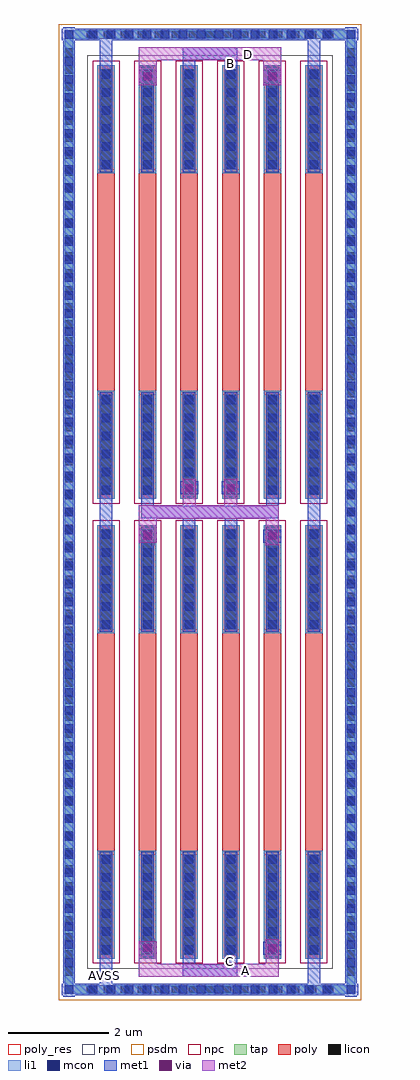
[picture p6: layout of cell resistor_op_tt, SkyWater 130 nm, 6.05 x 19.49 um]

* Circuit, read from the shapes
.subckt resistor_op_tt A AVSS B C D
XR1 n1 AVSS AVSS sky130_fd_pr__res_high_po w=0.35 l=4.38 m=2
XR2 n2 A AVSS sky130_fd_pr__res_high_po w=0.35 l=4.38 m=2
XR3 D n3 AVSS sky130_fd_pr__res_high_po w=0.35 l=4.38 m=2
XR4 n3 C AVSS sky130_fd_pr__res_high_po w=0.35 l=4.38 m=2
XR5 B n2 AVSS sky130_fd_pr__res_high_po w=0.35 l=4.38 m=2
XR6 n4 AVSS AVSS sky130_fd_pr__res_high_po w=0.35 l=4.38 m=2
.ends

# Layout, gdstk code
import gdstk
lib = gdstk.Library(unit=1e-6, precision=1e-09)
def R(c, l, rs):  # rectangles x0, y0, x1, y1
    for r in rs: c.add(gdstk.rectangle(r[:2], r[2:], *l))
def A(c, l, x, y, w, h, nx, ny, dx, dy):  # array of equal rectangles
    R(c, l, [(x+i*dx, y+j*dy, x+i*dx+w, y+j*dy+h) for i in range(nx) for j in range(ny)])
tap = (65, 44)
poly_res = (66, 13)
poly = (66, 20)
licon = (66, 44)
li1 = (67, 20)
mcon = (67, 44)
met1 = (68, 20)
via = (68, 44)
met2 = (69, 20)
rpm = (86, 20)
psdm = (94, 20)
npc = (95, 20)

sky130_fd_pr__res_high_p = lib.new_cell('sky130_fd_pr__res_high_po_0p35_RXTQM4')
A(sky130_fd_pr__res_high_p, poly_res, -2.25, -6.84, 0.35, 4.5, 6, 2, 0.83, 9.18)
A(sky130_fd_pr__res_high_p, poly, -2.25, -8.92, 0.35, 8.66, 6, 2, 0.83, 9.18)
A(sky130_fd_pr__res_high_p, licon, -2.17, -8.84, 0.19, 2, 6, 2, 0.83, 6.5)
A(sky130_fd_pr__res_high_p, licon, -2.17, 0.34, 0.19, 2, 6, 2, 0.83, 6.5)
A(sky130_fd_pr__res_high_p, li1, -2.25, -8.92, 0.35, 2.16, 6, 2, 0.83, 6.5)
A(sky130_fd_pr__res_high_p, li1, -2.25, 0.26, 0.35, 2.16, 6, 2, 0.83, 6.5)
A(sky130_fd_pr__res_high_p, mcon, -2.16, -8.825, 0.17, 0.17, 6, 6, 0.83, 0.36)
A(sky130_fd_pr__res_high_p, mcon, -2.16, -2.33, 0.17, 0.17, 6, 6, 0.83, 0.36)
A(sky130_fd_pr__res_high_p, mcon, -2.16, 0.355, 0.17, 0.17, 6, 6, 0.83, 0.36)
A(sky130_fd_pr__res_high_p, mcon, -2.16, 6.85, 0.17, 0.17, 6, 6, 0.83, 0.36)
A(sky130_fd_pr__res_high_p, met1, -2.2, -8.89, 0.25, 2.105, 6, 2, 0.83, 6.495)
A(sky130_fd_pr__res_high_p, met1, -2.2, 0.29, 0.25, 2.105, 6, 2, 0.83, 6.495)
R(sky130_fd_pr__res_high_p, rpm, [(-2.45,-9.12,2.45,9.12)])
R(sky130_fd_pr__res_high_p, psdm, [(-2.36,-9.03,2.36,9.03)])
A(sky130_fd_pr__res_high_p, npc, -2.345, -9.015, 0.54, 8.85, 6, 2, 0.83, 9.18)

resistor_op_tt = lib.new_cell('resistor_op_tt')
R(resistor_op_tt, tap, [(-2.025,11.16,3.775,11.33), (-2.025,11.33,-1.855,30.23), (3.605,11.33,3.775,30.23), (-2.025,30.23,3.775,30.4)])
A(resistor_op_tt, licon, -1.59, 11.16, 0.17, 0.17, 15, 2, 0.34, 19.07)
A(resistor_op_tt, licon, -2.025, 11.515, 0.17, 0.17, 1, 55, 0, 0.34)
A(resistor_op_tt, licon, 3.605, 11.515, 0.17, 0.17, 1, 55, 0, 0.34)
R(resistor_op_tt, li1, [(-2.025,11.16,3.775,11.33), (-2.025,11.33,-1.855,30.23), (3.605,11.33,3.775,30.23), (-2.025,30.23,3.775,30.4)])
A(resistor_op_tt, mcon, -1.55, 11.16, 0.17, 0.17, 14, 2, 0.36, 19.07)
A(resistor_op_tt, mcon, -2.025, 11.695, 0.17, 0.17, 1, 51, 0, 0.36)
A(resistor_op_tt, mcon, 3.605, 11.695, 0.17, 0.17, 1, 51, 0, 0.36)
R(resistor_op_tt, mcon, [(-2.025,11.16,-1.855,11.33), (3.605,11.16,3.775,11.33), (-2.025,30.23,-1.855,30.4), (3.605,30.23,3.775,30.4)])
R(resistor_op_tt, met1, [(-2.055,11.1,-1.825,11.13), (3.575,11.1,3.805,11.13), (-2.085,11.13,3.835,11.36), (-2.055,11.36,-1.825,30.2), (-1.325,11.36,-1.075,11.92), (2.825,11.36,3.075,11.98), (3.575,11.36,3.805,30.2), (0.335,11.5,1.415,11.75), (0.335,11.75,0.585,12), (1.165,11.75,1.415,12), (-0.5,11.9,-0.24,12.26), (1.94,11.94,2.3,12.2), (-0.5,20.12,-0.24,20.48), (1.94,20.17,2.3,20.43), (2.825,20.46,3.075,21.195), (0.335,20.475,0.585,20.655), (-1.325,20.48,-1.075,21.25), (1.165,20.49,1.415,20.655), (-0.495,20.655,2.245,20.905), (-0.495,20.905,-0.245,21.12), (1.995,20.905,2.245,21.135), (0.28,21.13,0.64,21.39), (1.11,21.13,1.47,21.39), (-0.55,29.35,-0.19,29.61), (1.94,29.35,2.3,29.61), (-1.325,29.595,-1.075,30.2), (0.335,29.61,0.585,29.81), (1.165,29.61,1.415,29.81), (2.825,29.61,3.075,30.2), (0.335,29.81,1.415,30.06), (-2.085,30.2,3.835,30.43), (-2.055,30.43,-1.825,30.46), (3.575,30.43,3.805,30.46)])
R(resistor_op_tt, via, [(2.045,11.995,2.195,12.145), (-0.445,12.005,-0.295,12.155), (-0.445,20.225,-0.295,20.375), (2.045,20.225,2.195,20.375), (0.385,21.185,0.535,21.335), (1.215,21.185,1.365,21.335), (-0.445,29.405,-0.295,29.555), (2.045,29.405,2.195,29.555)])
R(resistor_op_tt, met2, [(-0.55,11.5,2.25,11.76), (-0.55,11.76,-0.19,12.21), (1.99,11.76,2.25,12.25), (1.99,20.12,2.25,20.65), (-0.55,20.17,-0.19,20.65), (-0.55,20.65,2.25,20.91), (0.33,20.91,0.59,21.44), (1.16,20.91,1.42,21.44), (-0.55,29.3,-0.19,29.8), (1.94,29.3,2.3,29.8), (-0.55,29.8,2.3,30.06)])
R(resistor_op_tt, psdm, [(-2.15,11.035,3.9,11.75), (-2.15,11.75,-1.485,29.81), (3.235,11.75,3.9,29.81), (-2.15,29.81,3.9,30.525)])
resistor_op_tt.add(gdstk.Reference(sky130_fd_pr__res_high_p, (0.875,20.78)))
resistor_op_tt.add(gdstk.Label('A', (1.59,11.62), layer=69, texttype=5))
resistor_op_tt.add(gdstk.Label('C', (1.26,11.8), layer=68, texttype=5))
resistor_op_tt.add(gdstk.Label('B', (1.285,29.745), layer=68, texttype=5))
resistor_op_tt.add(gdstk.Label('D', (1.635,29.915), layer=69, texttype=5))
resistor_op_tt.add(gdstk.Label('AVSS', (-1.225,11.52), layer=68, texttype=5))

lib.write_gds('resistor_op_tt.gds')
